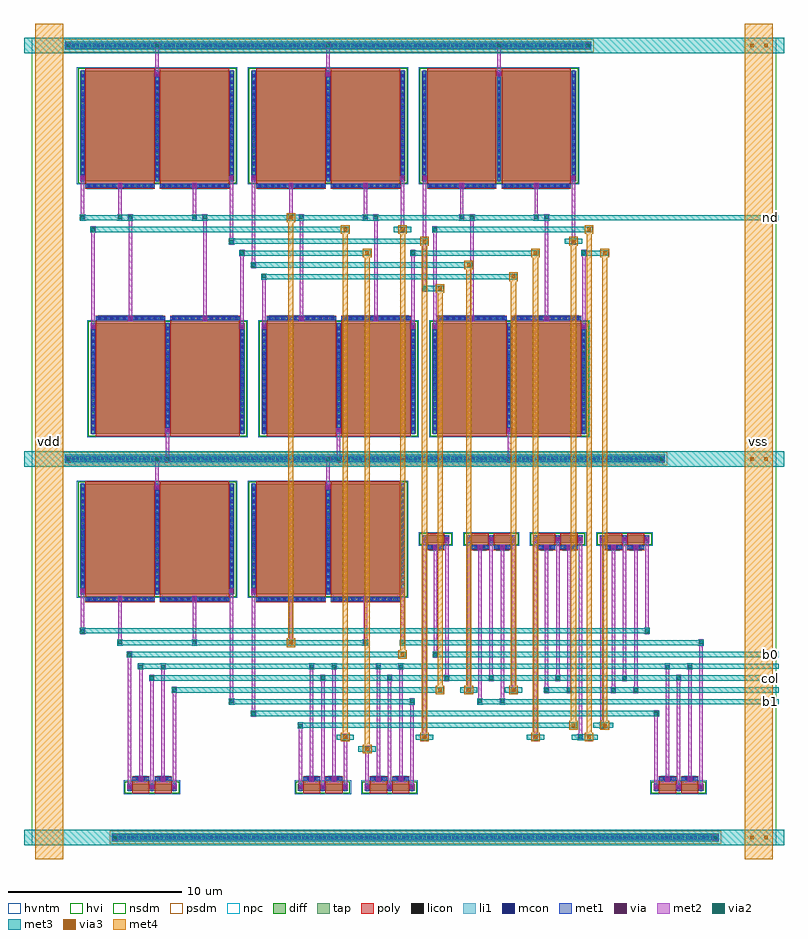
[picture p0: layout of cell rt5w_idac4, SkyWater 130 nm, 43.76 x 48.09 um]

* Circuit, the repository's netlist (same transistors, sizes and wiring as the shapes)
** sch_path: /home/claude/rt5w_sky/tt/xschem/rt5w_idac4.sch
.subckt rt5w_idac4 nd b0 b1 b2 b3 col vss
*.ipin nd
*.ipin b0
*.ipin b1
*.ipin b2
*.ipin b3
*.iopin col
XMd nd nd vss vss sky130_fd_pr__nfet_g5v0d10v5 L=4 W=6.37 nf=1 ad=1.847 as=1.847 pd=13.32 ps=13.32 nrd=0.04553 nrs=0.04553 sa=0
+ sb=0 sd=0 mult=1 m=1
XMu0 s0 nd vss vss sky130_fd_pr__nfet_g5v0d10v5 L=4 W=6.37 nf=1 ad=1.847 as=1.847 pd=13.32 ps=13.32 nrd=0.04553 nrs=0.04553 sa=0
+ sb=0 sd=0 mult=1 m=1
XMs0 col b0 s0 vss sky130_fd_pr__nfet_g5v0d10v5 L=1 W=0.42 nf=1 ad=0.1218 as=0.1218 pd=1.42 ps=1.42 nrd=0.6905 nrs=0.6905 sa=0
+ sb=0 sd=0 mult=1 m=1
XMu1 s1 nd vss vss sky130_fd_pr__nfet_g5v0d10v5 L=4 W=6.37 nf=1 ad=1.847 as=1.847 pd=13.32 ps=13.32 nrd=0.04553 nrs=0.04553 sa=0
+ sb=0 sd=0 mult=1 m=1
XMs1 col b1 s1 vss sky130_fd_pr__nfet_g5v0d10v5 L=1 W=0.42 nf=1 ad=0.1218 as=0.1218 pd=1.42 ps=1.42 nrd=0.6905 nrs=0.6905 sa=0
+ sb=0 sd=0 mult=1 m=1
XMu2 s2 nd vss vss sky130_fd_pr__nfet_g5v0d10v5 L=4 W=6.37 nf=1 ad=1.847 as=1.847 pd=13.32 ps=13.32 nrd=0.04553 nrs=0.04553 sa=0
+ sb=0 sd=0 mult=1 m=1
XMs2 col b1 s2 vss sky130_fd_pr__nfet_g5v0d10v5 L=1 W=0.42 nf=1 ad=0.1218 as=0.1218 pd=1.42 ps=1.42 nrd=0.6905 nrs=0.6905 sa=0
+ sb=0 sd=0 mult=1 m=1
XMu3 s3 nd vss vss sky130_fd_pr__nfet_g5v0d10v5 L=4 W=6.37 nf=1 ad=1.847 as=1.847 pd=13.32 ps=13.32 nrd=0.04553 nrs=0.04553 sa=0
+ sb=0 sd=0 mult=1 m=1
XMs3 col b2 s3 vss sky130_fd_pr__nfet_g5v0d10v5 L=1 W=0.42 nf=1 ad=0.1218 as=0.1218 pd=1.42 ps=1.42 nrd=0.6905 nrs=0.6905 sa=0
+ sb=0 sd=0 mult=1 m=1
XMu4 s4 nd vss vss sky130_fd_pr__nfet_g5v0d10v5 L=4 W=6.37 nf=1 ad=1.847 as=1.847 pd=13.32 ps=13.32 nrd=0.04553 nrs=0.04553 sa=0
+ sb=0 sd=0 mult=1 m=1
XMs4 col b2 s4 vss sky130_fd_pr__nfet_g5v0d10v5 L=1 W=0.42 nf=1 ad=0.1218 as=0.1218 pd=1.42 ps=1.42 nrd=0.6905 nrs=0.6905 sa=0
+ sb=0 sd=0 mult=1 m=1
XMu5 s5 nd vss vss sky130_fd_pr__nfet_g5v0d10v5 L=4 W=6.37 nf=1 ad=1.847 as=1.847 pd=13.32 ps=13.32 nrd=0.04553 nrs=0.04553 sa=0
+ sb=0 sd=0 mult=1 m=1
XMs5 col b2 s5 vss sky130_fd_pr__nfet_g5v0d10v5 L=1 W=0.42 nf=1 ad=0.1218 as=0.1218 pd=1.42 ps=1.42 nrd=0.6905 nrs=0.6905 sa=0
+ sb=0 sd=0 mult=1 m=1
XMu6 s6 nd vss vss sky130_fd_pr__nfet_g5v0d10v5 L=4 W=6.37 nf=1 ad=1.847 as=1.847 pd=13.32 ps=13.32 nrd=0.04553 nrs=0.04553 sa=0
+ sb=0 sd=0 mult=1 m=1
XMs6 col b2 s6 vss sky130_fd_pr__nfet_g5v0d10v5 L=1 W=0.42 nf=1 ad=0.1218 as=0.1218 pd=1.42 ps=1.42 nrd=0.6905 nrs=0.6905 sa=0
+ sb=0 sd=0 mult=1 m=1
XMu7 s7 nd vss vss sky130_fd_pr__nfet_g5v0d10v5 L=4 W=6.37 nf=1 ad=1.847 as=1.847 pd=13.32 ps=13.32 nrd=0.04553 nrs=0.04553 sa=0
+ sb=0 sd=0 mult=1 m=1
XMs7 col b3 s7 vss sky130_fd_pr__nfet_g5v0d10v5 L=1 W=0.42 nf=1 ad=0.1218 as=0.1218 pd=1.42 ps=1.42 nrd=0.6905 nrs=0.6905 sa=0
+ sb=0 sd=0 mult=1 m=1
XMu8 s8 nd vss vss sky130_fd_pr__nfet_g5v0d10v5 L=4 W=6.37 nf=1 ad=1.847 as=1.847 pd=13.32 ps=13.32 nrd=0.04553 nrs=0.04553 sa=0
+ sb=0 sd=0 mult=1 m=1
XMs8 col b3 s8 vss sky130_fd_pr__nfet_g5v0d10v5 L=1 W=0.42 nf=1 ad=0.1218 as=0.1218 pd=1.42 ps=1.42 nrd=0.6905 nrs=0.6905 sa=0
+ sb=0 sd=0 mult=1 m=1
XMu9 s9 nd vss vss sky130_fd_pr__nfet_g5v0d10v5 L=4 W=6.37 nf=1 ad=1.847 as=1.847 pd=13.32 ps=13.32 nrd=0.04553 nrs=0.04553 sa=0
+ sb=0 sd=0 mult=1 m=1
XMs9 col b3 s9 vss sky130_fd_pr__nfet_g5v0d10v5 L=1 W=0.42 nf=1 ad=0.1218 as=0.1218 pd=1.42 ps=1.42 nrd=0.6905 nrs=0.6905 sa=0
+ sb=0 sd=0 mult=1 m=1
XMu10 s10 nd vss vss sky130_fd_pr__nfet_g5v0d10v5 L=4 W=6.37 nf=1 ad=1.847 as=1.847 pd=13.32 ps=13.32 nrd=0.04553 nrs=0.04553 sa=0
+ sb=0 sd=0 mult=1 m=1
XMs10 col b3 s10 vss sky130_fd_pr__nfet_g5v0d10v5 L=1 W=0.42 nf=1 ad=0.1218 as=0.1218 pd=1.42 ps=1.42 nrd=0.6905 nrs=0.6905 sa=0
+ sb=0 sd=0 mult=1 m=1
XMu11 s11 nd vss vss sky130_fd_pr__nfet_g5v0d10v5 L=4 W=6.37 nf=1 ad=1.847 as=1.847 pd=13.32 ps=13.32 nrd=0.04553 nrs=0.04553 sa=0
+ sb=0 sd=0 mult=1 m=1
XMs11 col b3 s11 vss sky130_fd_pr__nfet_g5v0d10v5 L=1 W=0.42 nf=1 ad=0.1218 as=0.1218 pd=1.42 ps=1.42 nrd=0.6905 nrs=0.6905 sa=0
+ sb=0 sd=0 mult=1 m=1
XMu12 s12 nd vss vss sky130_fd_pr__nfet_g5v0d10v5 L=4 W=6.37 nf=1 ad=1.847 as=1.847 pd=13.32 ps=13.32 nrd=0.04553 nrs=0.04553 sa=0
+ sb=0 sd=0 mult=1 m=1
XMs12 col b3 s12 vss sky130_fd_pr__nfet_g5v0d10v5 L=1 W=0.42 nf=1 ad=0.1218 as=0.1218 pd=1.42 ps=1.42 nrd=0.6905 nrs=0.6905 sa=0
+ sb=0 sd=0 mult=1 m=1
XMu13 s13 nd vss vss sky130_fd_pr__nfet_g5v0d10v5 L=4 W=6.37 nf=1 ad=1.847 as=1.847 pd=13.32 ps=13.32 nrd=0.04553 nrs=0.04553 sa=0
+ sb=0 sd=0 mult=1 m=1
XMs13 col b3 s13 vss sky130_fd_pr__nfet_g5v0d10v5 L=1 W=0.42 nf=1 ad=0.1218 as=0.1218 pd=1.42 ps=1.42 nrd=0.6905 nrs=0.6905 sa=0
+ sb=0 sd=0 mult=1 m=1
XMu14 s14 nd vss vss sky130_fd_pr__nfet_g5v0d10v5 L=4 W=6.37 nf=1 ad=1.847 as=1.847 pd=13.32 ps=13.32 nrd=0.04553 nrs=0.04553 sa=0
+ sb=0 sd=0 mult=1 m=1
XMs14 col b3 s14 vss sky130_fd_pr__nfet_g5v0d10v5 L=1 W=0.42 nf=1 ad=0.1218 as=0.1218 pd=1.42 ps=1.42 nrd=0.6905 nrs=0.6905 sa=0
+ sb=0 sd=0 mult=1 m=1
.ends
.GLOBAL vss
.end

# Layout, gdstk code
import gdstk
lib = gdstk.Library(unit=1e-6, precision=1e-09)
def R(c, l, rs):  # rectangles x0, y0, x1, y1
    for r in rs: c.add(gdstk.rectangle(r[:2], r[2:], *l))
def A(c, l, x, y, w, h, nx, ny, dx, dy):  # array of equal rectangles
    R(c, l, [(x+i*dx, y+j*dy, x+i*dx+w, y+j*dy+h) for i in range(nx) for j in range(ny)])
diff = (65, 20)
tap = (65, 44)
poly = (66, 20)
licon = (66, 44)
li1 = (67, 20)
mcon = (67, 44)
met1 = (68, 20)
via = (68, 44)
met2 = (69, 20)
via2 = (69, 44)
met3 = (70, 20)
via3 = (70, 44)
met4 = (71, 20)
hvi = (75, 20)
nsdm = (93, 44)
psdm = (94, 20)
npc = (95, 20)
hvntm = (125, 20)

nfet_w6p37_l4_nf2_b_ng = lib.new_cell('nfet_W6p37_L4_nf2_b_ng')
R(nfet_w6p37_l4_nf2_b_ng, diff, [(-4.435,-3.03,4.435,3.34)])
R(nfet_w6p37_l4_nf2_b_ng, poly, [(-4.145,-3.47,-0.145,3.47), (0.145,-3.47,4.145,3.47)])
A(nfet_w6p37_l4_nf2_b_ng, licon, -3.93, -3.39, 0.17, 0.17, 11, 1, 0.34, 0)
A(nfet_w6p37_l4_nf2_b_ng, licon, 0.36, -3.39, 0.17, 0.17, 11, 1, 0.34, 0)
A(nfet_w6p37_l4_nf2_b_ng, licon, -4.375, -2.82, 0.17, 0.17, 3, 18, 4.29, 0.34)
A(nfet_w6p37_l4_nf2_b_ng, li1, -4.375, -3.05, 0.17, 6.41, 3, 1, 4.29, 0)
R(nfet_w6p37_l4_nf2_b_ng, li1, [(-4.145,-3.39,-0.145,-3.22), (0.145,-3.39,4.145,-3.22)])
A(nfet_w6p37_l4_nf2_b_ng, mcon, -4.03, -3.39, 0.17, 0.17, 11, 1, 0.36, 0)
A(nfet_w6p37_l4_nf2_b_ng, mcon, 0.26, -3.39, 0.17, 0.17, 11, 1, 0.36, 0)
A(nfet_w6p37_l4_nf2_b_ng, mcon, -4.375, -2.81, 0.17, 0.17, 3, 17, 4.29, 0.36)
A(nfet_w6p37_l4_nf2_b_ng, met1, -4.405, -3.03, 0.23, 6.37, 3, 1, 4.29, 0)
R(nfet_w6p37_l4_nf2_b_ng, met1, [(-4.125,-3.42,-0.165,-3.19), (0.165,-3.42,4.125,-3.19)])
R(nfet_w6p37_l4_nf2_b_ng, hvi, [(-4.62,-3.215,4.62,3.525)])
R(nfet_w6p37_l4_nf2_b_ng, nsdm, [(-4.56,-3.155,4.56,3.465)])
R(nfet_w6p37_l4_nf2_b_ng, npc, [(-4.03,-3.49,-0.26,-3.12), (0.26,-3.49,4.03,-3.12)])
R(nfet_w6p37_l4_nf2_b_ng, hvntm, [(-4.62,-3.215,4.62,3.525)])

nfet_w6p37_l4_nf2_t_ng = lib.new_cell('nfet_W6p37_L4_nf2_t_ng')
R(nfet_w6p37_l4_nf2_t_ng, diff, [(-4.435,-3.34,4.435,3.03)])
R(nfet_w6p37_l4_nf2_t_ng, poly, [(-4.145,-3.47,-0.145,3.47), (0.145,-3.47,4.145,3.47)])
A(nfet_w6p37_l4_nf2_t_ng, licon, -4.375, -3.13, 0.17, 0.17, 3, 18, 4.29, 0.34)
A(nfet_w6p37_l4_nf2_t_ng, licon, -3.93, 3.22, 0.17, 0.17, 11, 1, 0.34, 0)
A(nfet_w6p37_l4_nf2_t_ng, licon, 0.36, 3.22, 0.17, 0.17, 11, 1, 0.34, 0)
A(nfet_w6p37_l4_nf2_t_ng, li1, -4.375, -3.36, 0.17, 6.41, 3, 1, 4.29, 0)
R(nfet_w6p37_l4_nf2_t_ng, li1, [(-4.145,3.22,-0.145,3.39), (0.145,3.22,4.145,3.39)])
A(nfet_w6p37_l4_nf2_t_ng, mcon, -4.375, -3.12, 0.17, 0.17, 3, 17, 4.29, 0.36)
A(nfet_w6p37_l4_nf2_t_ng, mcon, -4.03, 3.22, 0.17, 0.17, 11, 1, 0.36, 0)
A(nfet_w6p37_l4_nf2_t_ng, mcon, 0.26, 3.22, 0.17, 0.17, 11, 1, 0.36, 0)
A(nfet_w6p37_l4_nf2_t_ng, met1, -4.405, -3.34, 0.23, 6.37, 3, 1, 4.29, 0)
R(nfet_w6p37_l4_nf2_t_ng, met1, [(-4.125,3.19,-0.165,3.42), (0.165,3.19,4.125,3.42)])
R(nfet_w6p37_l4_nf2_t_ng, hvi, [(-4.62,-3.525,4.62,3.215)])
R(nfet_w6p37_l4_nf2_t_ng, nsdm, [(-4.56,-3.465,4.56,3.155)])
R(nfet_w6p37_l4_nf2_t_ng, npc, [(-4.03,3.12,-0.26,3.49), (0.26,3.12,4.03,3.49)])
R(nfet_w6p37_l4_nf2_t_ng, hvntm, [(-4.62,-3.525,4.62,3.215)])

nfet_w0p42_l1_nf1_b_ng = lib.new_cell('nfet_W0p42_L1_nf1_b_ng')
R(nfet_w0p42_l1_nf1_b_ng, diff, [(-0.79,-0.055,0.79,0.365)])
R(nfet_w0p42_l1_nf1_b_ng, poly, [(-0.5,-0.495,0.5,0.495)])
R(nfet_w0p42_l1_nf1_b_ng, licon, [(-0.255,-0.415,-0.085,-0.245), (0.085,-0.415,0.255,-0.245), (-0.73,0.07,-0.56,0.24), (0.56,0.07,0.73,0.24)])
R(nfet_w0p42_l1_nf1_b_ng, li1, [(-0.5,-0.415,0.5,-0.245), (-0.73,-0.075,-0.56,0.385), (0.56,-0.075,0.73,0.385)])
R(nfet_w0p42_l1_nf1_b_ng, mcon, [(-0.265,-0.415,-0.095,-0.245), (0.095,-0.415,0.265,-0.245), (-0.73,0.07,-0.56,0.24), (0.56,0.07,0.73,0.24)])
R(nfet_w0p42_l1_nf1_b_ng, met1, [(-0.48,-0.445,0.48,-0.215), (-0.76,-0.055,-0.53,0.365), (0.53,-0.055,0.76,0.365)])
R(nfet_w0p42_l1_nf1_b_ng, hvi, [(-0.975,-0.265,0.975,0.575)])
R(nfet_w0p42_l1_nf1_b_ng, nsdm, [(-0.915,-0.18,0.915,0.49)])
R(nfet_w0p42_l1_nf1_b_ng, npc, [(-0.355,-0.515,0.355,-0.145)])
R(nfet_w0p42_l1_nf1_b_ng, hvntm, [(-0.975,-0.24,0.975,0.55)])

nfet_w0p42_l1_nf2_b_ng = lib.new_cell('nfet_W0p42_L1_nf2_b_ng')
R(nfet_w0p42_l1_nf2_b_ng, diff, [(-1.435,-0.055,1.435,0.365)])
R(nfet_w0p42_l1_nf2_b_ng, poly, [(-1.145,-0.495,-0.145,0.495), (0.145,-0.495,1.145,0.495)])
A(nfet_w0p42_l1_nf2_b_ng, licon, -1.375, 0.07, 0.17, 0.17, 3, 1, 1.29, 0)
R(nfet_w0p42_l1_nf2_b_ng, licon, [(-0.9,-0.415,-0.73,-0.245), (-0.56,-0.415,-0.39,-0.245), (0.39,-0.415,0.56,-0.245), (0.73,-0.415,0.9,-0.245)])
A(nfet_w0p42_l1_nf2_b_ng, li1, -1.375, -0.075, 0.17, 0.46, 3, 1, 1.29, 0)
R(nfet_w0p42_l1_nf2_b_ng, li1, [(-1.145,-0.415,-0.145,-0.245), (0.145,-0.415,1.145,-0.245)])
A(nfet_w0p42_l1_nf2_b_ng, mcon, -1.375, 0.07, 0.17, 0.17, 3, 1, 1.29, 0)
R(nfet_w0p42_l1_nf2_b_ng, mcon, [(-0.91,-0.415,-0.74,-0.245), (-0.55,-0.415,-0.38,-0.245), (0.38,-0.415,0.55,-0.245), (0.74,-0.415,0.91,-0.245)])
A(nfet_w0p42_l1_nf2_b_ng, met1, -1.405, -0.055, 0.23, 0.42, 3, 1, 1.29, 0)
R(nfet_w0p42_l1_nf2_b_ng, met1, [(-1.125,-0.445,-0.165,-0.215), (0.165,-0.445,1.125,-0.215)])
R(nfet_w0p42_l1_nf2_b_ng, hvi, [(-1.62,-0.265,1.62,0.575)])
R(nfet_w0p42_l1_nf2_b_ng, nsdm, [(-1.56,-0.18,1.56,0.49)])
R(nfet_w0p42_l1_nf2_b_ng, npc, [(-1,-0.515,-0.29,-0.145), (0.29,-0.515,1,-0.145)])
R(nfet_w0p42_l1_nf2_b_ng, hvntm, [(-1.62,-0.24,1.62,0.55)])

nfet_w0p42_l1_nf2_t_ng = lib.new_cell('nfet_W0p42_L1_nf2_t_ng')
R(nfet_w0p42_l1_nf2_t_ng, diff, [(-1.435,-0.365,1.435,0.055)])
R(nfet_w0p42_l1_nf2_t_ng, poly, [(-1.145,-0.495,-0.145,0.495), (0.145,-0.495,1.145,0.495)])
A(nfet_w0p42_l1_nf2_t_ng, licon, -1.375, -0.24, 0.17, 0.17, 3, 1, 1.29, 0)
R(nfet_w0p42_l1_nf2_t_ng, licon, [(-0.9,0.245,-0.73,0.415), (-0.56,0.245,-0.39,0.415), (0.39,0.245,0.56,0.415), (0.73,0.245,0.9,0.415)])
A(nfet_w0p42_l1_nf2_t_ng, li1, -1.375, -0.385, 0.17, 0.46, 3, 1, 1.29, 0)
R(nfet_w0p42_l1_nf2_t_ng, li1, [(-1.145,0.245,-0.145,0.415), (0.145,0.245,1.145,0.415)])
A(nfet_w0p42_l1_nf2_t_ng, mcon, -1.375, -0.24, 0.17, 0.17, 3, 1, 1.29, 0)
R(nfet_w0p42_l1_nf2_t_ng, mcon, [(-0.91,0.245,-0.74,0.415), (-0.55,0.245,-0.38,0.415), (0.38,0.245,0.55,0.415), (0.74,0.245,0.91,0.415)])
A(nfet_w0p42_l1_nf2_t_ng, met1, -1.405, -0.365, 0.23, 0.42, 3, 1, 1.29, 0)
R(nfet_w0p42_l1_nf2_t_ng, met1, [(-1.125,0.215,-0.165,0.445), (0.165,0.215,1.125,0.445)])
R(nfet_w0p42_l1_nf2_t_ng, hvi, [(-1.62,-0.575,1.62,0.265)])
R(nfet_w0p42_l1_nf2_t_ng, nsdm, [(-1.56,-0.49,1.56,0.18)])
R(nfet_w0p42_l1_nf2_t_ng, npc, [(-1,0.145,-0.29,0.515), (0.29,0.145,1,0.515)])
R(nfet_w0p42_l1_nf2_t_ng, hvntm, [(-1.62,-0.55,1.62,0.24)])

rt5w_idac4 = lib.new_cell('rt5w_idac4')
R(rt5w_idac4, tap, [(2,-46.285,36.96,-45.785), (-0.7,-24.49,33.85,-23.99), (-0.7,-0.7,29.62,-0.2)])
A(rt5w_idac4, licon, 2.165, -46.12, 0.17, 0.17, 72, 1, 0.48, 0)
A(rt5w_idac4, licon, -0.535, -24.325, 0.17, 0.17, 71, 1, 0.48, 0)
A(rt5w_idac4, licon, -0.535, -0.535, 0.17, 0.17, 63, 1, 0.48, 0)
R(rt5w_idac4, li1, [(2.045,-46.2,36.915,-45.87), (-0.655,-24.405,33.805,-24.075), (-0.655,-0.615,29.575,-0.285)])
A(rt5w_idac4, mcon, 2.405, -46.12, 0.17, 0.17, 72, 1, 0.48, 0)
A(rt5w_idac4, mcon, -0.295, -24.325, 0.17, 0.17, 71, 1, 0.48, 0)
A(rt5w_idac4, mcon, -0.295, -0.535, 0.17, 0.17, 62, 1, 0.48, 0)
A(rt5w_idac4, met1, 2.9, -43.265, 0.26, 0.32, 3, 1, 1.29, 0)
A(rt5w_idac4, met1, 12.74, -43.265, 0.26, 0.32, 3, 1, 1.29, 0)
A(rt5w_idac4, met1, 16.58, -43.265, 0.26, 0.32, 3, 1, 1.29, 0)
A(rt5w_idac4, met1, 33.22, -43.265, 0.26, 0.32, 3, 1, 1.29, 0)
A(rt5w_idac4, met1, 22.43, -29.07, 0.26, 0.32, 3, 1, 1.29, 0)
A(rt5w_idac4, met1, 26.27, -29.07, 0.26, 0.32, 3, 1, 1.29, 0)
A(rt5w_idac4, met1, 30.11, -29.07, 0.26, 0.32, 3, 1, 1.29, 0)
A(rt5w_idac4, met1, 5.09, -22.805, 0.26, 0.32, 3, 1, 9.84, 0)
A(rt5w_idac4, met1, 4.49, -2.205, 0.26, 0.32, 3, 1, 9.84, 0)
R(rt5w_idac4, met1, [(2,-46.2,36.96,-45.87), (2.04,-46.165,2.36,-45.905), (36.6,-46.165,36.92,-45.905), (3.515,-42.8,3.835,-42.54), (4.805,-42.8,5.125,-42.54), (13.355,-42.8,13.675,-42.54), (14.645,-42.8,14.965,-42.54), (17.195,-42.8,17.515,-42.54), (18.485,-42.8,18.805,-42.54), (33.835,-42.8,34.155,-42.54), (35.125,-42.8,35.445,-42.54), (2.315,-32.45,2.635,-32.19), (6.605,-32.45,6.925,-32.19), (12.155,-32.45,12.475,-32.19), (16.445,-32.45,16.765,-32.19), (0.2,-32.045,0.46,-31.725), (8.78,-32.045,9.04,-31.725), (10.04,-32.045,10.3,-31.725), (18.62,-32.045,18.88,-31.725), (20.495,-29.475,20.815,-29.215), (23.045,-29.475,23.365,-29.215), (24.335,-29.475,24.655,-29.215), (26.885,-29.475,27.205,-29.215), (28.175,-29.475,28.495,-29.215), (30.725,-29.475,31.045,-29.215), (32.015,-29.475,32.335,-29.215), (19.88,-29.07,20.14,-28.75), (21.17,-29.07,21.43,-28.75), (4.49,-25.995,4.75,-25.675), (14.33,-25.995,14.59,-25.675), (-0.7,-24.405,33.85,-24.075), (-0.66,-24.37,-0.34,-24.11), (33.49,-24.37,33.81,-24.11), (0.8,-16.755,1.06,-16.435), (9.38,-16.755,9.64,-16.435), (10.64,-16.755,10.9,-16.435), (19.22,-16.755,19.48,-16.435), (20.48,-16.755,20.74,-16.435), (29.06,-16.755,29.32,-16.435), (2.915,-16.29,3.235,-16.03), (7.205,-16.29,7.525,-16.03), (12.755,-16.29,13.075,-16.03), (17.045,-16.29,17.365,-16.03), (22.595,-16.29,22.915,-16.03), (26.885,-16.29,27.205,-16.03), (2.315,-8.66,2.635,-8.4), (6.605,-8.66,6.925,-8.4), (12.155,-8.66,12.475,-8.4), (16.445,-8.66,16.765,-8.4), (21.995,-8.66,22.315,-8.4), (26.285,-8.66,26.605,-8.4), (0.2,-8.255,0.46,-7.935), (8.78,-8.255,9.04,-7.935), (10.04,-8.255,10.3,-7.935), (18.62,-8.255,18.88,-7.935), (19.88,-8.255,20.14,-7.935), (28.46,-8.255,28.72,-7.935), (-0.7,-0.615,29.62,-0.285), (-0.66,-0.58,-0.34,-0.32), (29.26,-0.58,29.58,-0.32)])
A(rt5w_idac4, via, 2.955, -43.18, 0.15, 0.15, 3, 1, 1.29, 0)
A(rt5w_idac4, via, 12.795, -43.18, 0.15, 0.15, 3, 1, 1.29, 0)
A(rt5w_idac4, via, 16.635, -43.18, 0.15, 0.15, 3, 1, 1.29, 0)
A(rt5w_idac4, via, 33.275, -43.18, 0.15, 0.15, 3, 1, 1.29, 0)
A(rt5w_idac4, via, 22.485, -28.985, 0.15, 0.15, 3, 1, 1.29, 0)
A(rt5w_idac4, via, 26.325, -28.985, 0.15, 0.15, 3, 1, 1.29, 0)
A(rt5w_idac4, via, 30.165, -28.985, 0.15, 0.15, 3, 1, 1.29, 0)
A(rt5w_idac4, via, 5.145, -22.72, 0.15, 0.15, 3, 1, 9.84, 0)
A(rt5w_idac4, via, 4.545, -2.12, 0.15, 0.15, 3, 1, 9.84, 0)
R(rt5w_idac4, via, [(2.125,-46.11,2.275,-45.96), (36.685,-46.11,36.835,-45.96), (3.6,-42.745,3.75,-42.595), (4.89,-42.745,5.04,-42.595), (13.44,-42.745,13.59,-42.595), (14.73,-42.745,14.88,-42.595), (17.28,-42.745,17.43,-42.595), (18.57,-42.745,18.72,-42.595), (33.92,-42.745,34.07,-42.595), (35.21,-42.745,35.36,-42.595), (2.4,-32.395,2.55,-32.245), (6.69,-32.395,6.84,-32.245), (12.24,-32.395,12.39,-32.245), (16.53,-32.395,16.68,-32.245), (0.255,-31.96,0.405,-31.81), (8.835,-31.96,8.985,-31.81), (10.095,-31.96,10.245,-31.81), (18.675,-31.96,18.825,-31.81), (20.58,-29.42,20.73,-29.27), (23.13,-29.42,23.28,-29.27), (24.42,-29.42,24.57,-29.27), (26.97,-29.42,27.12,-29.27), (28.26,-29.42,28.41,-29.27), (30.81,-29.42,30.96,-29.27), (32.1,-29.42,32.25,-29.27), (19.935,-28.985,20.085,-28.835), (21.225,-28.985,21.375,-28.835), (4.545,-25.91,4.695,-25.76), (14.385,-25.91,14.535,-25.76), (-0.575,-24.315,-0.425,-24.165), (33.575,-24.315,33.725,-24.165), (0.855,-16.67,1.005,-16.52), (9.435,-16.67,9.585,-16.52), (10.695,-16.67,10.845,-16.52), (19.275,-16.67,19.425,-16.52), (20.535,-16.67,20.685,-16.52), (29.115,-16.67,29.265,-16.52), (3,-16.235,3.15,-16.085), (7.29,-16.235,7.44,-16.085), (12.84,-16.235,12.99,-16.085), (17.13,-16.235,17.28,-16.085), (22.68,-16.235,22.83,-16.085), (26.97,-16.235,27.12,-16.085), (2.4,-8.605,2.55,-8.455), (6.69,-8.605,6.84,-8.455), (12.24,-8.605,12.39,-8.455), (16.53,-8.605,16.68,-8.455), (22.08,-8.605,22.23,-8.455), (26.37,-8.605,26.52,-8.455), (0.255,-8.17,0.405,-8.02), (8.835,-8.17,8.985,-8.02), (10.095,-8.17,10.245,-8.02), (18.675,-8.17,18.825,-8.02), (19.935,-8.17,20.085,-8.02), (28.515,-8.17,28.665,-8.02), (-0.575,-0.525,-0.425,-0.375), (29.345,-0.525,29.495,-0.375)])
A(rt5w_idac4, met2, 2.9, -43.265, 0.26, 0.32, 3, 1, 1.29, 0)
A(rt5w_idac4, met2, 12.74, -43.265, 0.26, 0.32, 3, 1, 1.29, 0)
A(rt5w_idac4, met2, 16.58, -43.265, 0.26, 0.32, 3, 1, 1.29, 0)
A(rt5w_idac4, met2, 33.22, -43.265, 0.26, 0.32, 3, 1, 1.29, 0)
A(rt5w_idac4, met2, 23.71, -37.05, 0.28, 0.37, 3, 1, 3.84, 0)
A(rt5w_idac4, met2, 23.75, -36.965, 0.2, 8.155, 3, 1, 3.84, 0)
A(rt5w_idac4, met2, 22.43, -29.07, 0.26, 0.32, 3, 1, 1.29, 0)
A(rt5w_idac4, met2, 26.27, -29.07, 0.26, 0.32, 3, 1, 1.29, 0)
A(rt5w_idac4, met2, 30.11, -29.07, 0.26, 0.32, 3, 1, 1.29, 0)
A(rt5w_idac4, met2, 5.12, -24.34, 0.2, 1.795, 3, 1, 9.84, 0)
A(rt5w_idac4, met2, 5.09, -22.805, 0.26, 0.32, 3, 1, 9.84, 0)
A(rt5w_idac4, met2, 9.41, -16.695, 0.2, 4.4, 3, 1, 9.84, 0)
A(rt5w_idac4, met2, 9.37, -12.58, 0.28, 0.37, 3, 1, 9.84, 0)
A(rt5w_idac4, met2, 4.49, -2.205, 0.26, 0.32, 3, 1, 9.84, 0)
A(rt5w_idac4, met2, 4.52, -2.145, 0.2, 1.795, 3, 1, 9.84, 0)
A(rt5w_idac4, met2, 4.48, -0.635, 0.28, 0.37, 3, 1, 9.84, 0)
R(rt5w_idac4, met2, [(2.06,-46.22,2.34,-45.85), (36.62,-46.22,36.9,-45.85), (2.07,-46.195,2.33,-45.875), (36.63,-46.195,36.89,-45.875), (2.93,-43.205,3.13,-35.405), (4.22,-43.205,4.42,-36.765), (5.51,-43.205,5.71,-37.445), (12.77,-43.205,12.97,-39.485), (14.06,-43.205,14.26,-36.765), (15.35,-43.205,15.55,-40.165), (16.61,-43.205,16.81,-40.845), (17.9,-43.205,18.1,-36.765), (19.19,-43.205,19.39,-38.125), (33.25,-43.205,33.45,-38.805), (34.54,-43.205,34.74,-36.765), (35.83,-43.205,36.03,-34.725), (3.545,-42.83,3.805,-42.51), (4.835,-42.83,5.095,-42.51), (13.385,-42.83,13.645,-42.51), (14.675,-42.83,14.935,-42.51), (17.225,-42.83,17.485,-42.51), (18.515,-42.83,18.775,-42.51), (33.865,-42.83,34.125,-42.51), (35.155,-42.83,35.415,-42.51), (3.575,-42.77,3.775,-36.085), (4.865,-42.77,5.065,-36.085), (13.415,-42.77,13.615,-36.085), (14.705,-42.77,14.905,-36.085), (17.255,-42.77,17.455,-36.085), (18.545,-42.77,18.745,-36.085), (33.895,-42.77,34.095,-36.085), (35.185,-42.77,35.385,-36.085), (16.57,-41.13,16.85,-40.76), (15.31,-40.45,15.59,-40.08), (19.87,-40.45,20.15,-40.08), (26.26,-40.45,26.54,-40.08), (28.84,-40.45,29.12,-40.08), (19.91,-40.365,20.11,-28.81), (26.3,-40.365,26.5,-28.81), (28.88,-40.365,29.08,-28.81), (12.73,-39.77,13.01,-39.4), (30.1,-39.77,30.38,-39.4), (30.14,-39.685,30.34,-28.81), (10.03,-39.09,10.31,-38.72), (33.21,-39.09,33.49,-38.72), (10.07,-39.005,10.27,-31.785), (8.77,-38.41,9.05,-38.04), (19.15,-38.41,19.43,-38.04), (23.065,-38.41,23.345,-38.04), (24.355,-38.41,24.635,-38.04), (8.81,-38.325,9.01,-31.785), (23.105,-38.325,23.305,-29.245), (24.395,-38.325,24.595,-29.245), (5.47,-37.73,5.75,-37.36), (22.42,-37.73,22.7,-37.36), (25,-37.73,25.28,-37.36), (26.905,-37.73,27.185,-37.36), (28.195,-37.73,28.475,-37.36), (30.745,-37.73,31.025,-37.36), (32.035,-37.73,32.315,-37.36), (22.46,-37.645,22.66,-28.81), (25.04,-37.645,25.24,-28.81), (26.945,-37.645,27.145,-29.245), (28.235,-37.645,28.435,-29.245), (30.785,-37.645,30.985,-29.245), (32.075,-37.645,32.275,-29.245), (4.18,-37.05,4.46,-36.68), (14.02,-37.05,14.3,-36.68), (17.86,-37.05,18.14,-36.68), (21.16,-37.05,21.44,-36.68), (34.5,-37.05,34.78,-36.68), (21.2,-36.965,21.4,-28.81), (3.535,-36.37,3.815,-36), (4.825,-36.37,5.105,-36), (13.375,-36.37,13.655,-36), (14.665,-36.37,14.945,-36), (17.215,-36.37,17.495,-36), (18.505,-36.37,18.785,-36), (33.855,-36.37,34.135,-36), (35.145,-36.37,35.425,-36), (2.89,-35.69,3.17,-35.32), (20.515,-35.69,20.795,-35.32), (20.555,-35.605,20.755,-29.245), (2.335,-35.01,2.615,-34.64), (6.625,-35.01,6.905,-34.64), (12.175,-35.01,12.455,-34.64), (16.465,-35.01,16.745,-34.64), (18.61,-35.01,18.89,-34.64), (35.79,-35.01,36.07,-34.64), (2.375,-34.925,2.575,-32.22), (6.665,-34.925,6.865,-32.22), (12.215,-34.925,12.415,-32.22), (16.505,-34.925,16.705,-32.22), (18.65,-34.925,18.85,-31.785), (0.19,-34.33,0.47,-33.96), (32.68,-34.33,32.96,-33.96), (0.23,-34.245,0.43,-31.785), (32.72,-34.245,32.92,-28.81), (2.345,-32.48,2.605,-32.16), (6.635,-32.48,6.895,-32.16), (12.185,-32.48,12.445,-32.16), (16.475,-32.48,16.735,-32.16), (0.2,-32.045,0.46,-31.725), (8.78,-32.045,9.04,-31.725), (10.04,-32.045,10.3,-31.725), (18.62,-32.045,18.88,-31.725), (20.525,-29.505,20.785,-29.185), (23.075,-29.505,23.335,-29.185), (24.365,-29.505,24.625,-29.185), (26.915,-29.505,27.175,-29.185), (28.205,-29.505,28.465,-29.185), (30.755,-29.505,31.015,-29.185), (32.045,-29.505,32.305,-29.185), (19.88,-29.07,20.14,-28.75), (21.17,-29.07,21.43,-28.75), (4.49,-25.995,4.75,-25.675), (14.33,-25.995,14.59,-25.675), (4.52,-25.935,4.72,-24.14), (14.36,-25.935,14.56,-24.14), (-0.64,-24.425,-0.36,-24.055), (4.48,-24.425,4.76,-24.055), (5.08,-24.425,5.36,-24.055), (14.32,-24.425,14.6,-24.055), (14.92,-24.425,15.2,-24.055), (24.76,-24.425,25.04,-24.055), (33.51,-24.425,33.79,-24.055), (-0.63,-24.4,-0.37,-24.08), (33.52,-24.4,33.78,-24.08), (0.8,-16.755,1.06,-16.435), (9.38,-16.755,9.64,-16.435), (10.64,-16.755,10.9,-16.435), (19.22,-16.755,19.48,-16.435), (20.48,-16.755,20.74,-16.435), (29.06,-16.755,29.32,-16.435), (0.83,-16.695,1.03,-10.935), (10.67,-16.695,10.87,-13.655), (20.51,-16.695,20.71,-10.935), (2.945,-16.32,3.205,-16), (7.235,-16.32,7.495,-16), (12.785,-16.32,13.045,-16), (17.075,-16.32,17.335,-16), (22.625,-16.32,22.885,-16), (26.915,-16.32,27.175,-16), (2.975,-16.26,3.175,-10.255), (7.265,-16.26,7.465,-10.255), (12.815,-16.26,13.015,-10.255), (17.105,-16.26,17.305,-10.255), (22.655,-16.26,22.855,-10.255), (26.945,-16.26,27.145,-10.255), (19.87,-14.62,20.15,-14.25), (19.91,-14.535,20.11,-7.995), (10.63,-13.94,10.91,-13.57), (10.03,-13.26,10.31,-12.89), (10.07,-13.175,10.27,-7.995), (8.77,-11.9,9.05,-11.53), (28.45,-11.9,28.73,-11.53), (8.81,-11.815,9.01,-7.995), (28.49,-11.815,28.69,-7.995), (0.79,-11.22,1.07,-10.85), (18.61,-11.22,18.89,-10.85), (20.47,-11.22,20.75,-10.85), (18.65,-11.135,18.85,-7.995), (0.19,-10.54,0.47,-10.17), (2.335,-10.54,2.615,-10.17), (2.935,-10.54,3.215,-10.17), (6.625,-10.54,6.905,-10.17), (7.225,-10.54,7.505,-10.17), (12.175,-10.54,12.455,-10.17), (12.775,-10.54,13.055,-10.17), (16.465,-10.54,16.745,-10.17), (17.065,-10.54,17.345,-10.17), (22.015,-10.54,22.295,-10.17), (22.615,-10.54,22.895,-10.17), (26.305,-10.54,26.585,-10.17), (26.905,-10.54,27.185,-10.17), (0.23,-10.455,0.43,-7.995), (2.375,-10.455,2.575,-8.43), (6.665,-10.455,6.865,-8.43), (12.215,-10.455,12.415,-8.43), (16.505,-10.455,16.705,-8.43), (22.055,-10.455,22.255,-8.43), (26.345,-10.455,26.545,-8.43), (2.345,-8.69,2.605,-8.37), (6.635,-8.69,6.895,-8.37), (12.185,-8.69,12.445,-8.37), (16.475,-8.69,16.735,-8.37), (22.025,-8.69,22.285,-8.37), (26.315,-8.69,26.575,-8.37), (0.2,-8.255,0.46,-7.935), (8.78,-8.255,9.04,-7.935), (10.04,-8.255,10.3,-7.935), (18.62,-8.255,18.88,-7.935), (19.88,-8.255,20.14,-7.935), (28.46,-8.255,28.72,-7.935), (-0.64,-0.635,-0.36,-0.265), (29.28,-0.635,29.56,-0.265), (-0.63,-0.61,-0.37,-0.29), (29.29,-0.61,29.55,-0.29)])
A(rt5w_idac4, via2, 23.75, -36.965, 0.2, 0.2, 3, 1, 3.84, 0)
A(rt5w_idac4, via2, 9.41, -12.495, 0.2, 0.2, 3, 1, 9.84, 0)
A(rt5w_idac4, via2, 4.52, -0.55, 0.2, 0.2, 3, 1, 9.84, 0)
R(rt5w_idac4, via2, [(2.1,-46.135,2.3,-45.935), (36.66,-46.135,36.86,-45.935), (16.61,-41.045,16.81,-40.845), (15.35,-40.365,15.55,-40.165), (19.91,-40.365,20.11,-40.165), (26.3,-40.365,26.5,-40.165), (28.88,-40.365,29.08,-40.165), (12.77,-39.685,12.97,-39.485), (30.14,-39.685,30.34,-39.485), (10.07,-39.005,10.27,-38.805), (33.25,-39.005,33.45,-38.805), (8.81,-38.325,9.01,-38.125), (19.19,-38.325,19.39,-38.125), (23.105,-38.325,23.305,-38.125), (24.395,-38.325,24.595,-38.125), (5.51,-37.645,5.71,-37.445), (22.46,-37.645,22.66,-37.445), (25.04,-37.645,25.24,-37.445), (26.945,-37.645,27.145,-37.445), (28.235,-37.645,28.435,-37.445), (30.785,-37.645,30.985,-37.445), (32.075,-37.645,32.275,-37.445), (4.22,-36.965,4.42,-36.765), (14.06,-36.965,14.26,-36.765), (17.9,-36.965,18.1,-36.765), (21.2,-36.965,21.4,-36.765), (34.54,-36.965,34.74,-36.765), (3.575,-36.285,3.775,-36.085), (4.865,-36.285,5.065,-36.085), (13.415,-36.285,13.615,-36.085), (14.705,-36.285,14.905,-36.085), (17.255,-36.285,17.455,-36.085), (18.545,-36.285,18.745,-36.085), (33.895,-36.285,34.095,-36.085), (35.185,-36.285,35.385,-36.085), (2.93,-35.605,3.13,-35.405), (20.555,-35.605,20.755,-35.405), (2.375,-34.925,2.575,-34.725), (6.665,-34.925,6.865,-34.725), (12.215,-34.925,12.415,-34.725), (16.505,-34.925,16.705,-34.725), (18.65,-34.925,18.85,-34.725), (35.83,-34.925,36.03,-34.725), (0.23,-34.245,0.43,-34.045), (32.72,-34.245,32.92,-34.045), (-0.6,-24.34,-0.4,-24.14), (4.52,-24.34,4.72,-24.14), (5.12,-24.34,5.32,-24.14), (14.36,-24.34,14.56,-24.14), (14.96,-24.34,15.16,-24.14), (24.8,-24.34,25,-24.14), (33.55,-24.34,33.75,-24.14), (19.91,-14.535,20.11,-14.335), (10.67,-13.855,10.87,-13.655), (10.07,-13.175,10.27,-12.975), (8.81,-11.815,9.01,-11.615), (28.49,-11.815,28.69,-11.615), (0.83,-11.135,1.03,-10.935), (18.65,-11.135,18.85,-10.935), (20.51,-11.135,20.71,-10.935), (0.23,-10.455,0.43,-10.255), (2.375,-10.455,2.575,-10.255), (2.975,-10.455,3.175,-10.255), (6.665,-10.455,6.865,-10.255), (7.265,-10.455,7.465,-10.255), (12.215,-10.455,12.415,-10.255), (12.815,-10.455,13.015,-10.255), (16.505,-10.455,16.705,-10.255), (17.105,-10.455,17.305,-10.255), (22.055,-10.455,22.255,-10.255), (22.655,-10.455,22.855,-10.255), (26.345,-10.455,26.545,-10.255), (26.945,-10.455,27.145,-10.255), (-0.6,-0.55,-0.4,-0.35), (29.32,-0.55,29.52,-0.35)])
A(rt5w_idac4, met3, 23.685, -37.03, 0.33, 0.33, 3, 1, 3.84, 0)
A(rt5w_idac4, met3, 9.345, -12.56, 0.33, 0.33, 3, 1, 9.84, 0)
A(rt5w_idac4, met3, 4.455, -0.615, 0.33, 0.33, 3, 1, 9.84, 0)
R(rt5w_idac4, met3, [(-3.05,-46.485,40.71,-45.585), (2.035,-46.2,2.365,-45.87), (36.595,-46.2,36.925,-45.87), (38.665,-46.2,39.055,-45.87), (39.465,-46.2,39.855,-45.87), (16.515,-41.11,16.905,-40.78), (16.545,-41.11,16.875,-40.78), (16.21,-41.095,17.21,-40.795), (15.255,-40.43,15.645,-40.1), (15.285,-40.43,15.615,-40.1), (19.815,-40.43,20.205,-40.1), (19.845,-40.43,20.175,-40.1), (26.205,-40.43,26.595,-40.1), (26.235,-40.43,26.565,-40.1), (28.815,-40.43,29.145,-40.1), (29.145,-40.43,29.295,-40.1), (29.295,-40.43,29.685,-40.1), (14.95,-40.415,15.95,-40.115), (19.51,-40.415,20.51,-40.115), (25.9,-40.415,26.9,-40.115), (28.48,-40.415,29.99,-40.115), (12.705,-39.75,13.035,-39.42), (28.395,-39.75,28.785,-39.42), (30.075,-39.75,30.405,-39.42), (30.195,-39.75,30.585,-39.42), (12.72,-39.735,28.74,-39.435), (29.74,-39.735,30.89,-39.435), (10.005,-39.07,10.335,-38.74), (33.185,-39.07,33.515,-38.74), (10.02,-39.055,33.5,-38.755), (8.745,-38.39,9.075,-38.06), (19.125,-38.39,19.455,-38.06), (23.04,-38.39,23.37,-38.06), (24.33,-38.39,24.66,-38.06), (8.76,-38.375,19.44,-38.075), (23.055,-38.375,40.41,-38.075), (5.445,-37.71,5.775,-37.38), (20.715,-37.71,21.105,-37.38), (22.365,-37.71,22.755,-37.38), (22.395,-37.71,22.725,-37.38), (24.945,-37.71,25.335,-37.38), (24.975,-37.71,25.305,-37.38), (26.88,-37.71,27.21,-37.38), (28.17,-37.71,28.5,-37.38), (30.72,-37.71,31.05,-37.38), (32.01,-37.71,32.34,-37.38), (5.46,-37.695,21.06,-37.395), (22.06,-37.695,23.06,-37.395), (24.64,-37.695,25.64,-37.395), (26.895,-37.695,40.41,-37.395), (4.155,-37.03,4.485,-36.7), (13.995,-37.03,14.325,-36.7), (17.835,-37.03,18.165,-36.7), (21.135,-37.03,21.465,-36.7), (34.475,-37.03,34.805,-36.7), (4.17,-37.015,40.41,-36.715), (3.51,-36.35,3.84,-36.02), (4.8,-36.35,5.13,-36.02), (13.35,-36.35,13.68,-36.02), (14.64,-36.35,14.97,-36.02), (17.19,-36.35,17.52,-36.02), (18.48,-36.35,18.81,-36.02), (33.83,-36.35,34.16,-36.02), (35.12,-36.35,35.45,-36.02), (3.525,-36.335,40.41,-36.035), (2.865,-35.67,3.195,-35.34), (18.555,-35.67,18.945,-35.34), (20.49,-35.67,20.82,-35.34), (2.88,-35.655,18.9,-35.355), (20.505,-35.655,40.41,-35.355), (2.31,-34.99,2.64,-34.66), (6.6,-34.99,6.93,-34.66), (12.12,-34.99,12.51,-34.66), (12.15,-34.99,12.48,-34.66), (16.44,-34.99,16.77,-34.66), (18.585,-34.99,18.915,-34.66), (35.765,-34.99,36.095,-34.66), (2.325,-34.975,16.755,-34.675), (18.6,-34.975,36.08,-34.675), (0.165,-34.31,0.495,-33.98), (32.655,-34.31,32.985,-33.98), (0.18,-34.295,32.97,-33.995), (-3.05,-24.69,40.71,-23.79), (-3.05,-24.69,40.71,-23.79), (-0.665,-24.405,-0.335,-24.075), (4.455,-24.405,4.785,-24.075), (4.785,-24.405,5.055,-24.075), (5.055,-24.405,5.385,-24.075), (14.295,-24.405,14.625,-24.075), (14.625,-24.405,14.895,-24.075), (14.895,-24.405,15.225,-24.075), (24.735,-24.405,25.065,-24.075), (33.485,-24.405,33.815,-24.075), (38.665,-24.405,39.055,-24.075), (38.665,-24.405,39.055,-24.075), (39.465,-24.405,39.855,-24.075), (39.465,-24.405,39.855,-24.075), (19.845,-14.6,20.175,-14.27), (20.715,-14.6,21.105,-14.27), (19.86,-14.585,21.06,-14.285), (10.605,-13.92,10.935,-13.59), (24.945,-13.92,25.335,-13.59), (10.62,-13.905,25.29,-13.605), (10.005,-13.24,10.335,-12.91), (22.365,-13.24,22.755,-12.91), (10.02,-13.225,22.71,-12.925), (16.515,-12.56,16.905,-12.23), (26.205,-12.56,26.595,-12.23), (30.195,-12.56,30.585,-12.23), (9.36,-12.545,16.86,-12.245), (19.2,-12.545,26.55,-12.245), (29.04,-12.545,30.54,-12.245), (8.745,-11.88,9.075,-11.55), (19.815,-11.88,20.205,-11.55), (28.395,-11.88,28.785,-11.55), (28.425,-11.88,28.755,-11.55), (8.76,-11.865,20.16,-11.565), (28.09,-11.865,29.09,-11.565), (0.765,-11.2,1.095,-10.87), (15.255,-11.2,15.645,-10.87), (18.555,-11.2,18.945,-10.87), (18.585,-11.2,18.915,-10.87), (20.445,-11.2,20.775,-10.87), (29.295,-11.2,29.685,-10.87), (0.78,-11.185,15.6,-10.885), (18.25,-11.185,19.25,-10.885), (20.46,-11.185,29.64,-10.885), (0.165,-10.52,0.495,-10.19), (2.31,-10.52,2.64,-10.19), (2.64,-10.52,2.91,-10.19), (2.91,-10.52,3.24,-10.19), (6.6,-10.52,6.93,-10.19), (6.93,-10.52,7.2,-10.19), (7.2,-10.52,7.53,-10.19), (12.12,-10.52,12.51,-10.19), (12.15,-10.52,12.48,-10.19), (12.48,-10.52,12.75,-10.19), (12.51,-10.52,12.75,-10.19), (12.75,-10.52,13.08,-10.19), (16.44,-10.52,16.77,-10.19), (16.77,-10.52,17.04,-10.19), (17.04,-10.52,17.37,-10.19), (21.99,-10.52,22.32,-10.19), (22.32,-10.52,22.59,-10.19), (22.59,-10.52,22.92,-10.19), (26.28,-10.52,26.61,-10.19), (26.61,-10.52,26.88,-10.19), (26.88,-10.52,27.21,-10.19), (0.18,-10.505,40.41,-10.205), (-3.05,-0.9,40.71,0), (-0.665,-0.615,-0.335,-0.285), (29.255,-0.615,29.585,-0.285), (38.665,-0.615,39.055,-0.285), (39.465,-0.615,39.855,-0.285)])
R(rt5w_idac4, via3, [(38.76,-46.135,38.96,-45.935), (39.56,-46.135,39.76,-45.935), (16.61,-41.045,16.81,-40.845), (15.35,-40.365,15.55,-40.165), (19.91,-40.365,20.11,-40.165), (26.3,-40.365,26.5,-40.165), (29.39,-40.365,29.59,-40.165), (28.49,-39.685,28.69,-39.485), (30.29,-39.685,30.49,-39.485), (20.81,-37.645,21.01,-37.445), (22.46,-37.645,22.66,-37.445), (25.04,-37.645,25.24,-37.445), (18.65,-35.605,18.85,-35.405), (12.215,-34.925,12.415,-34.725), (38.76,-24.34,38.96,-24.14), (39.56,-24.34,39.76,-24.14), (20.81,-14.535,21.01,-14.335), (25.04,-13.855,25.24,-13.655), (22.46,-13.175,22.66,-12.975), (16.61,-12.495,16.81,-12.295), (26.3,-12.495,26.5,-12.295), (30.29,-12.495,30.49,-12.295), (19.91,-11.815,20.11,-11.615), (28.49,-11.815,28.69,-11.615), (15.35,-11.135,15.55,-10.935), (18.65,-11.135,18.85,-10.935), (29.39,-11.135,29.59,-10.935), (12.215,-10.455,12.415,-10.255), (38.76,-0.55,38.96,-0.35), (39.56,-0.55,39.76,-0.35)])
R(rt5w_idac4, met4, [(-2.4,-47.285,-0.8,0.8), (38.46,-47.285,40.06,0.8), (38.61,-46.285,39.11,-45.785), (39.41,-46.285,39.91,-45.785), (16.46,-41.195,16.96,-40.695), (16.56,-41.095,16.86,-12.245), (15.2,-40.515,15.7,-40.015), (19.76,-40.515,20.26,-40.015), (26.15,-40.515,26.65,-40.015), (29.24,-40.515,29.74,-40.015), (15.3,-40.415,15.6,-10.885), (19.86,-40.415,20.16,-11.565), (26.25,-40.415,26.55,-12.245), (29.34,-40.415,29.64,-10.885), (28.34,-39.835,28.84,-39.335), (30.14,-39.835,30.64,-39.335), (28.44,-39.735,28.74,-11.565), (30.24,-39.735,30.54,-12.245), (20.66,-37.795,21.16,-37.295), (22.31,-37.795,22.81,-37.295), (24.89,-37.795,25.39,-37.295), (20.76,-37.695,21.06,-14.285), (22.41,-37.695,22.71,-12.925), (24.99,-37.695,25.29,-13.605), (18.5,-35.755,19,-35.255), (18.6,-35.655,18.9,-10.885), (12.065,-35.075,12.565,-34.575), (12.165,-34.975,12.465,-10.205), (38.61,-24.49,39.11,-23.99), (38.61,-24.49,39.11,-23.99), (39.41,-24.49,39.91,-23.99), (39.41,-24.49,39.91,-23.99), (20.66,-14.685,21.16,-14.185), (24.89,-14.005,25.39,-13.505), (22.31,-13.325,22.81,-12.825), (16.46,-12.645,16.96,-12.145), (26.15,-12.645,26.65,-12.145), (30.14,-12.645,30.64,-12.145), (19.76,-11.965,20.26,-11.465), (28.34,-11.965,28.84,-11.465), (15.2,-11.285,15.7,-10.785), (18.5,-11.285,19,-10.785), (29.24,-11.285,29.74,-10.785), (12.065,-10.605,12.565,-10.105), (38.61,-0.7,39.11,-0.2), (39.41,-0.7,39.91,-0.2)])
R(rt5w_idac4, hvi, [(-2.6,-46.485,40.26,0)])
R(rt5w_idac4, psdm, [(1.875,-46.41,37.085,-45.66), (-0.825,-24.615,33.975,-23.865), (-0.825,-0.825,29.745,-0.075)])
rt5w_idac4.add(gdstk.Reference(nfet_w6p37_l4_nf2_b_ng, (4.62,-5.225)))
rt5w_idac4.add(gdstk.Reference(nfet_w6p37_l4_nf2_b_ng, (14.46,-5.225)))
rt5w_idac4.add(gdstk.Reference(nfet_w6p37_l4_nf2_b_ng, (24.3,-5.225)))
rt5w_idac4.add(gdstk.Reference(nfet_w6p37_l4_nf2_t_ng, (5.22,-19.465)))
rt5w_idac4.add(gdstk.Reference(nfet_w6p37_l4_nf2_t_ng, (15.06,-19.465)))
rt5w_idac4.add(gdstk.Reference(nfet_w6p37_l4_nf2_t_ng, (24.9,-19.465)))
rt5w_idac4.add(gdstk.Reference(nfet_w6p37_l4_nf2_b_ng, (4.62,-29.015)))
rt5w_idac4.add(gdstk.Reference(nfet_w6p37_l4_nf2_b_ng, (14.46,-29.015)))
rt5w_idac4.add(gdstk.Reference(nfet_w0p42_l1_nf1_b_ng, (20.655,-29.015)))
rt5w_idac4.add(gdstk.Reference(nfet_w0p42_l1_nf2_b_ng, (23.85,-29.015)))
rt5w_idac4.add(gdstk.Reference(nfet_w0p42_l1_nf2_b_ng, (27.69,-29.015)))
rt5w_idac4.add(gdstk.Reference(nfet_w0p42_l1_nf2_b_ng, (31.53,-29.015)))
rt5w_idac4.add(gdstk.Reference(nfet_w0p42_l1_nf2_t_ng, (4.32,-43)))
rt5w_idac4.add(gdstk.Reference(nfet_w0p42_l1_nf2_t_ng, (14.16,-43)))
rt5w_idac4.add(gdstk.Reference(nfet_w0p42_l1_nf2_t_ng, (18,-43)))
rt5w_idac4.add(gdstk.Reference(nfet_w0p42_l1_nf2_t_ng, (34.64,-43)))
rt5w_idac4.add(gdstk.Label('nd', (39.96,-10.355), layer=70, texttype=5))
rt5w_idac4.add(gdstk.Label('col', (39.96,-36.865), layer=70, texttype=5))
rt5w_idac4.add(gdstk.Label('b0', (39.96,-35.505), layer=70, texttype=5))
rt5w_idac4.add(gdstk.Label('b1', (39.96,-38.225), layer=70, texttype=5))
rt5w_idac4.add(gdstk.Label('b2', (39.96,-37.545), layer=70, texttype=5))
rt5w_idac4.add(gdstk.Label('b3', (39.96,-36.185), layer=70, texttype=5))
rt5w_idac4.add(gdstk.Label('vdd', (-1.6,-23.243), layer=71, texttype=5))
rt5w_idac4.add(gdstk.Label('vss', (39.26,-23.243), layer=71, texttype=5))

lib.write_gds('rt5w_idac4.gds')
